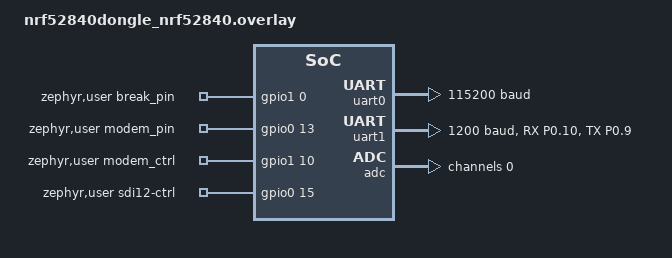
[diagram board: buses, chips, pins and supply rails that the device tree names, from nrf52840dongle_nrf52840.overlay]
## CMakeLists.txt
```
cmake_minimum_required(VERSION 3.20.0)
find_package(Zephyr REQUIRED HINTS $ENV{ZEPHYR_BASE})

project(enviromentalModule)

file(GLOB_RECURSE SRC_FILES "${CMAKE_CURRENT_SOURCE_DIR}/src/*.cpp" "${CMAKE_CURRENT_SOURCE_DIR}/src/*.c" )

target_sources(app PRIVATE ${SRC_FILES})
target_include_directories(app PRIVATE "${CMAKE_CURRENT_SOURCE_DIR}/includes" ${CMAKE_CURRENT_BINARY_DIR} ${CMAKE_CURRENT_BINARY_DIR}/proto)

set_property(TARGET app PROPERTY CXX_STANDARD 20)

list(APPEND CMAKE_MODULE_PATH ${ZEPHYR_BASE}/modules/nanopb)             
include(nanopb)  
#generates sensors.pb.c/sensors.pb.h
zephyr_nanopb_sources(app proto/sensors.proto)
```

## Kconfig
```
# Copyright (c) 2026 Metropolia AMK
# SPDX-License-Identifier: Apache-2.0
source "Kconfig.zephyr"

config SDI12
	bool "Enable SDI-12 interface"

config RUUVI_TAG
	bool "Enable RuuviTag scanning"
	
config CLOUD_SEND_4G
	bool "Use 4G-modem to send data"

config CLOUD_SEND_LORA
	bool "Use LoRaWAN to send data"

config SEQUENCE_SAMPLES
	int "Number of samples to be made on the sequence for each channel."
	default 1

config SEQUENCE_RESOLUTION
	int "Set the resolution of the sequence readings."
	default 12

config SEQUENCE_32BITS_REGISTERS
	bool "ADC data sequences are on 32bits"
	default n
```

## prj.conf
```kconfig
CONFIG_GPIO=y

#CONFIG_MAIN_STACK_SIZE=16384
CONFIG_MAIN_STACK_SIZE=32768
CONFIG_HEAP_MEM_POOL_SIZE=49152

# Cryptography
CONFIG_CRYPTO=y
CONFIG_CRYPTO_NRF_ECB=y
#CONFIG_NORDIC_SECURITY_BACKEND=n
CONFIG_NRF_SECURITY=y
CONFIG_MBEDTLS=y
CONFIG_MBEDTLS_BUILTIN=y
CONFIG_MBEDTLS_ENABLE_HEAP=y
CONFIG_MBEDTLS_HEAP_SIZE=20480

CONFIG_MBEDTLS_RSA_C=y
CONFIG_MBEDTLS_PK_C=y
CONFIG_MBEDTLS_PK_PARSE_C=y
CONFIG_MBEDTLS_LEGACY_CRYPTO_C=y
CONFIG_MBEDTLS_PKCS1_V15=y
CONFIG_MBEDTLS_CTR_DRBG_C=y
CONFIG_MBEDTLS_ENTROPY_C=y

CONFIG_JWT=y
CONFIG_JWT_SIGN_RSA_PSA=y
CONFIG_BASE64=y

# Timer
CONFIG_NEWLIB_LIBC=y
CONFIG_POSIX_API=y
#CONFIG_POSIX_CLOCK=y
CONFIG_NEWLIB_LIBC_FLOAT_PRINTF=y
CONFIG_NEWLIB_LIBC_FLOAT_SCANF=y
# do we need this when we have printf float??
CONFIG_CBPRINTF_FP_SUPPORT=y

# AT Client Sample Configuration
# Logging
CONFIG_LOG=y
CONFIG_LOG_PRINTK=y
#CONFIG_UART_CONSOLE=y
# I use shell which also enables serial backend.
# Enabling it in two different modules caused log messages to be printed twice
#CONFIG_LOG_BACKEND_UART=y
CONFIG_LOG_BUFFER_SIZE=16384


# Serial and UART
CONFIG_SERIAL=y
CONFIG_UART_INTERRUPT_DRIVEN=y
CONFIG_UART_PIPE=y

# Modem subsystem
CONFIG_MODEM_MODULES=y
CONFIG_MODEM_BACKEND_UART=y
CONFIG_MODEM_PIPE=y
CONFIG_MODEM_CHAT=y

# Shell subsystem
CONFIG_PRINTK=y
CONFIG_SHELL=y
CONFIG_SHELL_MINIMAL=y
CONFIG_SHELL_HELP=y
# default stack size is 2048
#CONFIG_SHELL_STACK_SIZE=4096
CONFIG_SHELL_BACKEND_SERIAL=y
# Set my own prompt instead of the default
CONFIG_SHELL_PROMPT_UART="envi:~$ "

# Bluetooth
CONFIG_BT=y
CONFIG_BT_OBSERVER=y

# Enable Extended Scanning
CONFIG_BT_EXT_ADV=y
CONFIG_BT_EXT_SCAN_BUF_SIZE=1650

# Zephyr Bluetooth LE Controller needs 16 event buffers to generate Extended
# Advertising Report for receiving the complete 1650 bytes of data
CONFIG_BT_BUF_EVT_RX_COUNT=16

# the following two require BT_LL_SW_SPLIT, which is experimental and unknown to me
# Set maximum scan data length for Extended Scanning in Bluetooth LE Controller
#CONFIG_BT_CTLR_SCAN_DATA_LEN_MAX=1650

# Increase Zephyr Bluetooth LE Controller Rx buffer to receive complete chain
# of PDUs
#CONFIG_BT_CTLR_RX_BUFFERS=9

# NV storage
CONFIG_FLASH=y
CONFIG_NVS=y
CONFIG_NVS_DATA_CRC=y
#CONFIG_LOG_MODE_IMMEDIATE=y
CONFIG_NVS_LOG_LEVEL_DBG=n
#CONFIG_REBOOT=y
CONFIG_MPU_ALLOW_FLASH_WRITE=y

#debug
CONFIG_THREAD_ANALYZER=y
CONFIG_INIT_STACKS=y
CONFIG_THREAD_NAME=y
CONFIG_KERNEL_SHELL=y
CONFIG_SYS_HEAP_RUNTIME_STATS=y

# ADC for battery voltage measurement
CONFIG_ADC=y

# select sensors and data connection
CONFIG_SDI12=y
CONFIG_RUUVI_TAG=y
CONFIG_CLOUD_SEND_LORA=n
CONFIG_CLOUD_SEND_4G=y

# nanopb runtime,generated code via zephyr_nanopb_sources() in CMakeLists.txt
CONFIG_NANOPB=y

#cpp support
CONFIG_CPP=y
CONFIG_GLIBCXX_LIBCPP=y

CONFIG_UDC_NRF_THREAD_STACK_SIZE=1024
CONFIG_LOG_PROCESS_THREAD_STACK_SIZE=1024  
```

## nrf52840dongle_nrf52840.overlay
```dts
// To get started, press Ctrl+Space (or Option+Esc) to bring up the completion menu and view the available nodes.

// You can also use the buttons in the sidebar to perform actions on nodes.
// Actions currently available include:

// * Enabling / disabling the node
// * Adding the bus to a bus
// * Removing the node
// * Connecting ADC channels

// For more help, browse the DeviceTree documentation at https://docs.zephyrproject.org/latest/guides/dts/index.html
// You can also visit the nRF DeviceTree extension documentation at https://docs.nordicsemi.com/bundle/nrf-connect-vscode/page/guides/ncs_configure_app.html#devicetree-support-in-the-extension

/ {
	zephyr,user {
		break_pin-gpios = <&gpio1 0 0>;
		modem_pin-gpios = <&gpio0 13 0>;
		modem_ctrl-gpios = <&gpio1 10 0>;
		sdi12-ctrl-gpios = <&gpio0 15 0>;
	};
	chosen {
		zephyr,modem-uart = &uart0;
		zephyr,uart-pipe = &board_cdc_acm_uart;
	};
};

&mwu {
	status = "disabled";
};

/ {
	aliases {
		modem-uart = &uart0;
		adc0 = &adc;
	};
};

&uart0 {
	status = "okay";
	pinctrl-0 = <&uart0_default>;
	pinctrl-1 = <&uart0_sleep>;
	pinctrl-names = "default", "sleep";
	//current-speed = <9600>; // for LoRa modem
	current-speed = <115200>; // for 4G modem
};


&uart1 {
	status = "okay";
	pinctrl-0 = <&uart1_default>;
	pinctrl-1 = <&uart1_sleep>;
	pinctrl-names = "default", "sleep";
	current-speed = <1200>;
	parity = "none";
	stop-bits = "1";
	data-bits = <8>;
};

&pinctrl {
	uart1_default: uart1_default {
		group1 {
			psels = <NRF_PSEL(UART_RX, 0, 10)>, <NRF_PSEL(UART_TX, 0, 9)>;
		};
	};

	uart1_sleep: uart1_sleep {
		group1 {
			psels = <NRF_PSEL(UART_TX, 0, 9)>;
		};
	};
};

&uart0_default {
	group1 {
		psels = <NRF_PSEL(UART_TX, 0, 20)>;
	};

	group2 {
		psels = <NRF_PSEL(UART_RX, 0, 24)>;
		/delete-property/ bias-pull-up;
	};
};

&adc {
	#address-cells = <1>;
	#size-cells = <0>;

	channel@0 {
		reg = <0>;
		zephyr,gain = "ADC_GAIN_1_6";
		zephyr,reference = "ADC_REF_INTERNAL";
		zephyr,acquisition-time = <ADC_ACQ_TIME_DEFAULT>;
		zephyr,input-positive = <NRF_SAADC_AIN0>; /* P0.02 */
	};

};
```

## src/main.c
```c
// RTOS
#include <zephyr/kernel.h>
#include <zephyr/device.h>
#include <zephyr/drivers/rtc.h>
#include <zephyr/drivers/adc.h>
#include <zephyr/logging/log.h>

// Standard libraries
#include <stdio.h>
#include <stdlib.h>
#include <time.h>

// Includes
#include "common.h"
#include "errors.h"
#include "realtime.h"
#include "device.h"
#include "ruuvitag.h"
#include "uart.h"
#include "sdi12_scan.h"
#include "ruuvi_scan.h"
#include "nv_params.h"

LOG_MODULE_REGISTER(main);

/* ADC node from the devicetree. */
#define ADC_NODE DT_ALIAS(adc0)

/* Auxiliary macro to obtain channel vref, if available. */
#define CHANNEL_VREF(node_id) DT_PROP_OR(node_id, zephyr_vref_mv, 0)

/* Data of ADC device specified in devicetree. */
static const struct device *adc = DEVICE_DT_GET(ADC_NODE);

/* Data array of ADC channels for the specified ADC. */
static const struct adc_channel_cfg channel_cfgs[] = {
	DT_FOREACH_CHILD_SEP(ADC_NODE, ADC_CHANNEL_CFG_DT, (,))};

/* Data array of ADC channel voltage references. */
static uint32_t vrefs_mv[] = {DT_FOREACH_CHILD_SEP(ADC_NODE, CHANNEL_VREF, (,))};

/* Get the number of channels defined on the DTS. */
#define CHANNEL_COUNT ARRAY_SIZE(channel_cfgs)

#if CONFIG_SDI12
K_THREAD_STACK_DEFINE(sdi12_stack_area, SDI12_STACKSIZE);
struct k_thread sdi12_scan_thread_data;
k_tid_t sdi12_scan_thread_id;
#endif

K_THREAD_STACK_DEFINE(ruuvi_stack_area, RUUVI_STACKSIZE);
struct k_thread ruuvi_scan_thread_data;
k_tid_t ruuvi_scan_thread_id;


K_EVENT_DEFINE(envisens_events);

int bat_voltage;

void boot_halt(void)
{
    k_event_post(&envisens_events, BOOT_HALT_EVENT);
}

void boot_continue(void)
{
    k_event_post(&envisens_events, BOOT_CONTINUE_EVENT);
}

int main(void)
{
	struct tm rtc_time;
	int rc;
#ifdef CONFIG_SEQUENCE_32BITS_REGISTERS
	uint32_t channel_reading[CONFIG_SEQUENCE_SAMPLES][CHANNEL_COUNT];
#else
	uint16_t channel_reading[CONFIG_SEQUENCE_SAMPLES][CHANNEL_COUNT];
#endif


	nv_params_init();
	//check if lora appkey is set 
	char lora_appkey[33];
	if (nvs_get_lora_appkey(lora_appkey) <= 0) 
	{
		LOG_WRN("LoRa AppKey not set in NVS. Use lora set_appkey <key> command to set it.");
	}

#if CONFIG_SDI12
	sdi12_scan_thread_id = k_thread_create(&sdi12_scan_thread_data, sdi12_stack_area,
										   K_THREAD_STACK_SIZEOF(sdi12_stack_area),
										   sdi12_scan_thread,
										   NULL, NULL, NULL,
										   SDI12_THREAD_PRIORITY, 0, K_NO_WAIT);
	k_thread_name_set(sdi12_scan_thread_id, "sdi12_scan");
#endif
#if CONFIG_RUUVI_TAG
	ruuvi_scan_thread_id = k_thread_create(&ruuvi_scan_thread_data, ruuvi_stack_area,
										   K_THREAD_STACK_SIZEOF(ruuvi_stack_area),
										   ruuvi_scan_thread,
										   NULL, NULL, NULL,
										   RUUVI_THREAD_PRIORITY, 0, K_NO_WAIT);
	k_thread_name_set(ruuvi_scan_thread_id, "ruuvi_scan");
#endif

#if 1
	printk("Type \"stop\" to stop boot\n");

	if(k_event_wait(&envisens_events, BOOT_HALT_EVENT | BOOT_CONTINUE_EVENT, true, K_SECONDS(30)) == BOOT_HALT_EVENT) {
		BOOT_WAIT();
	}
	
#endif
	boot_continue();

	/* Options for the sequence sampling. */
	const struct adc_sequence_options options = {
		.extra_samplings = CONFIG_SEQUENCE_SAMPLES - 1,
		.interval_us = 0,
	};

	/* Configure the sampling sequence to be made. */
	struct adc_sequence sequence = {
		.buffer = channel_reading,
		/* buffer size in bytes, not number of samples */
		.buffer_size = sizeof(channel_reading),
		.resolution = CONFIG_SEQUENCE_RESOLUTION,
		.options = &options,
	};

	if (!device_is_ready(adc)) {
		printf("ADC controller device %s not ready\n", adc->name);
		return 0;
	}

	/* Configure channels individually prior to sampling. */
	for (size_t i = 0U; i < CHANNEL_COUNT; i++) {
		sequence.channels |= BIT(channel_cfgs[i].channel_id);
		rc = adc_channel_setup(adc, &channel_cfgs[i]);
		if (rc < 0) {
			printf("Could not setup channel #%d (%d)\n", i, rc);
			return 0;
		}
		if ((vrefs_mv[i] == 0) && (channel_cfgs[i].reference == ADC_REF_INTERNAL)) {
			vrefs_mv[i] = adc_ref_internal(adc);
		}
	}


	uint16_t err = setup(&rtc_time); // this mostly 4G-modem related setup

	while (err != ERR_NONE)
	{
		printk("Error loop\n");
		k_msleep(ERROR_LOOP_SLEEP);
		handle_errors(&err, &rtc_time);
	}

	CLOCK_WAIT();

	print_current_time();
	// Main loop
	while (1)
	{
		struct timespec now_ts;
		if (clock_gettime(CLOCK_REALTIME, &now_ts) == 0) {
			struct tm *t = gmtime(&now_ts.tv_sec);
			if(t->tm_min % MEASURE_CYCLE_MINUTES == 0) {
				LOG_INF("Start sampling");
				print_current_time();
				TAKE_SAMPLE_NOW(); 
				rc = adc_read(adc, &sequence);
				if (rc >= 0) {
					for (size_t channel_index = 0U; channel_index < CHANNEL_COUNT; channel_index++) {
						int32_t val_mv;	

						// just read the first sample even if we have more than one
						// todo: cleanup setup
						val_mv = channel_reading[0][channel_index];

						rc = adc_raw_to_millivolts(vrefs_mv[channel_index],
										channel_cfgs[channel_index].gain,
										CONFIG_SEQUENCE_RESOLUTION, &val_mv);
						/* conversion to mV may not be supported, skip if not */
						if ((rc < 0) || vrefs_mv[channel_index] == 0) {
							LOG_ERR("value in mV not available");
						} else {
							// todo: report battery voltage
							bat_voltage = (int)(val_mv * 5.6);
							LOG_INF("Battery voltage: %d", bat_voltage); // multiplier 5.6 based on voltage divider

						}
					
					}
				}
				else {
					LOG_ERR("Could not read ADC (%d)", rc);
				}

				k_msleep(MEASURE_CYCLE_MINUTES * 60000 - 5000); // go to sleep and wake up 5s before next deadline
			}
			else {
				k_msleep(100); // not there yet - sleep just a bit and check again
			}
		}
		else {
			k_msleep(60000);
		}
	}

	return 0;
}
```

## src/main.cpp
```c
#include <zephyr/kernel.h>
#include <zephyr/device.h>
#include <zephyr/drivers/rtc.h>
#include <zephyr/drivers/adc.h>
#include <zephyr/logging/log.h>

#include <stdio.h>
#include <stdlib.h>
#include <time.h>

#include "sensor_scan/ruuvi_scan.hpp"
#include "sensor_scan/sdi12_scan.hpp"
#include "hardware/sdi12.hpp"
#include "pubsub/topic.hpp"

#include "d_pipeline/cloud_sender.hpp"
#include "storage/nv_storage.hpp"

#if CONFIG_CLOUD_SEND_4G
#include "transport/modem_transport.hpp"
#include "serialization/json_serializer.hpp"
#endif

#if CONFIG_CLOUD_SEND_LORA
#include "transport/lora_statemachine.hpp"
#include "transport/lora_transport.hpp"
#include "serialization/binary_serializer.hpp"
#endif

#include "utils/app_events.hpp"

LOG_MODULE_REGISTER(main);

static void print_clock()
{
	struct timespec ts;
	if (clock_gettime(CLOCK_REALTIME, &ts) == 0) {
		struct tm *t = gmtime(&ts.tv_sec);
		printk("Epoch: %lld\n", (long long)ts.tv_sec);
		printk("Now: %04d-%02d-%02d %02d:%02d:%02d\n", t->tm_year + 1900, t->tm_mon + 1,
		       t->tm_mday, t->tm_hour, t->tm_min, t->tm_sec);
	} else {
		printk("ERROR: clock_gettime() failed\n");
	}
}

#define ADC_NODE DT_ALIAS(adc0)

#define CHANNEL_VREF(node_id) DT_PROP_OR(node_id, zephyr_vref_mv, 0)

static const struct device *adc = DEVICE_DT_GET(ADC_NODE);

static const struct adc_channel_cfg channel_cfgs[] = {
	DT_FOREACH_CHILD_SEP(ADC_NODE, ADC_CHANNEL_CFG_DT, (, ))};

static uint32_t vrefs_mv[] = {DT_FOREACH_CHILD_SEP(ADC_NODE, CHANNEL_VREF, (, ))};

#define CHANNEL_COUNT ARRAY_SIZE(channel_cfgs)

static constexpr float BAT_VOLTAGE_DIVIDER_RATIO = 5.6f;

// for shell access, global cause shell is not an object
extern void shell_nv_set(NvStorage &);
extern void shell_sdi12_set(SDI12Bus &);
extern void shell_cloud_sender_set(CloudSender &);

#if CONFIG_CLOUD_SEND_LORA
extern void shell_lora_sm_set(LoRaStateMachine &);
#endif

int main(void)
{
	static NvStorage nv_storage;
	static SDI12Bus sdi12_bus;

	static Topic<ruuvi_data> ruuvi_topic;
	static Topic<teros12_data> teros_topic;
	static Topic<solyx14_data> solyx_topic;
	static Topic<solinst_data> solinst_topic;

	static RuuviScanner ruuvi_scanner(&ruuvi_topic, &nv_storage);
	static SDI12Scanner sdi12_scanner(&sdi12_bus, &ruuvi_scanner, &teros_topic, &solyx_topic,
					  &solinst_topic);

#if CONFIG_CLOUD_SEND_LORA
	static LoRaStateMachine lora_sm;
	static LoRaTransport lora_transport(&lora_sm);
	static BinarySerializer bin_ser(&ruuvi_topic, &teros_topic, &solyx_topic, &solinst_topic);
	static CloudSender cloud_sender(&lora_transport, &bin_ser);
	shell_lora_sm_set(lora_sm);
#elif CONFIG_CLOUD_SEND_4G
	static ModemTransport modem_transport;
	static JsonSerializer json_ser(&ruuvi_topic, &teros_topic, &solyx_topic, &solinst_topic);
	static CloudSender cloud_sender(&modem_transport, &json_ser);
#endif
	shell_nv_set(nv_storage);
	shell_sdi12_set(sdi12_bus);
	shell_cloud_sender_set(cloud_sender);

	int rc;
#ifdef CONFIG_SEQUENCE_32BITS_REGISTERS
	uint32_t channel_reading[CONFIG_SEQUENCE_SAMPLES][CHANNEL_COUNT];
#else
	uint16_t channel_reading[CONFIG_SEQUENCE_SAMPLES][CHANNEL_COUNT];
#endif

	nv_storage.init();
	// check if lora appkey is set
	char lora_appkey[33];
	if (nv_storage.get_appkey(lora_appkey) <= 0) {
		LOG_WRN("LoRa AppKey not set in NVS. Use lora set_appkey <key> command to set it.");
	}

#if CONFIG_CLOUD_SEND_4G
	modem_transport.init();
	{
		int boot_rc = modem_transport.boot_setup();
		while (boot_rc != 0) {
			LOG_ERR("Modem boot_setup failed (%d), retrying in 30 s", boot_rc);
			k_msleep(30000);
			boot_rc = modem_transport.boot_setup();
		}
	}
	// json_ser.init(ruuvi_topic, teros_topic, solyx_topic, solinst_topic); // to be removed??
#endif

#if 1
	printk("Type \"stop\" to stop boot\n");

	// note: setting clear to true clears all events
	if (AppEvents::wait(AppEvents::BOOT_HALT | AppEvents::BOOT_CONTINUE, false,
			    K_SECONDS(30)) == AppEvents::BOOT_HALT) {
		AppEvents::boot_wait();
	}
	printk("Continuing boot\n");

#endif
	AppEvents::boot_continue();

	const struct adc_sequence_options options = {
		.interval_us = 0,
		.extra_samplings = CONFIG_SEQUENCE_SAMPLES - 1,
	};

	struct adc_sequence sequence = {
		.options = &options,
		.buffer = channel_reading,
		.buffer_size = sizeof(channel_reading),
		.resolution = CONFIG_SEQUENCE_RESOLUTION,
	};

	if (!device_is_ready(adc)) {
		printf("ADC controller device %s not ready\n", adc->name);
		return 0;
	}

	for (size_t i = 0U; i < CHANNEL_COUNT; i++) {
		sequence.channels |= BIT(channel_cfgs[i].channel_id);
		rc = adc_channel_setup(adc, &channel_cfgs[i]);
		if (rc < 0) {
			printf("Could not setup channel #%d (%d)\n", i, rc);
			return 0;
		}
		if ((vrefs_mv[i] == 0) && (channel_cfgs[i].reference == ADC_REF_INTERNAL)) {
			vrefs_mv[i] = adc_ref_internal(adc);
		}
	}

	AppEvents::clock_wait();

	print_clock();
	while (1) {
		struct timespec now_ts;
		if (clock_gettime(CLOCK_REALTIME, &now_ts) == 0) {
			struct tm *t = gmtime(&now_ts.tv_sec);
			if (t->tm_min % AppEvents::MEASURE_CYCLE_MINUTES == 0) {
				LOG_INF("Start sampling");
				print_clock();
				AppEvents::take_sample_now();
				rc = adc_read(adc, &sequence);
				if (rc >= 0) {
					for (size_t channel_index = 0U;
					     channel_index < CHANNEL_COUNT; channel_index++) {
						int32_t val_mv;

						// just read the first sample even if we have more
						// than one

						val_mv = channel_reading[0][channel_index];

						rc = adc_raw_to_millivolts(
							vrefs_mv[channel_index],
							channel_cfgs[channel_index].gain,
							CONFIG_SEQUENCE_RESOLUTION, &val_mv);
						if ((rc < 0) || vrefs_mv[channel_index] == 0) {
							LOG_ERR("value in mV not available");
						} else {
							int bv = (int)(val_mv *
								       BAT_VOLTAGE_DIVIDER_RATIO);
							cloud_sender.set_bat_voltage(bv);
							LOG_INF("Battery voltage: %d", bv);
						}
					}
				} else {
					LOG_ERR("Could not read ADC (%d)", rc);
				}

				k_msleep(AppEvents::MEASURE_CYCLE_MINUTES * 60000 -
					 5000); // go to sleep and wake up 5s before next deadline
			} else {
				k_msleep(100); // not there yet - sleep just a bit and check again
			}
		} else {
			k_msleep(60000);
		}
	}

	return 0;
}
```

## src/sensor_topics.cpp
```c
#include "sensor_topics.hpp"

Topic<ruuvi_data>   ruuvi_topic;
Topic<teros12_data> teros_topic;
Topic<solyx14_data> solyx_topic;
Topic<solinst_data> solinst_topic;
```
